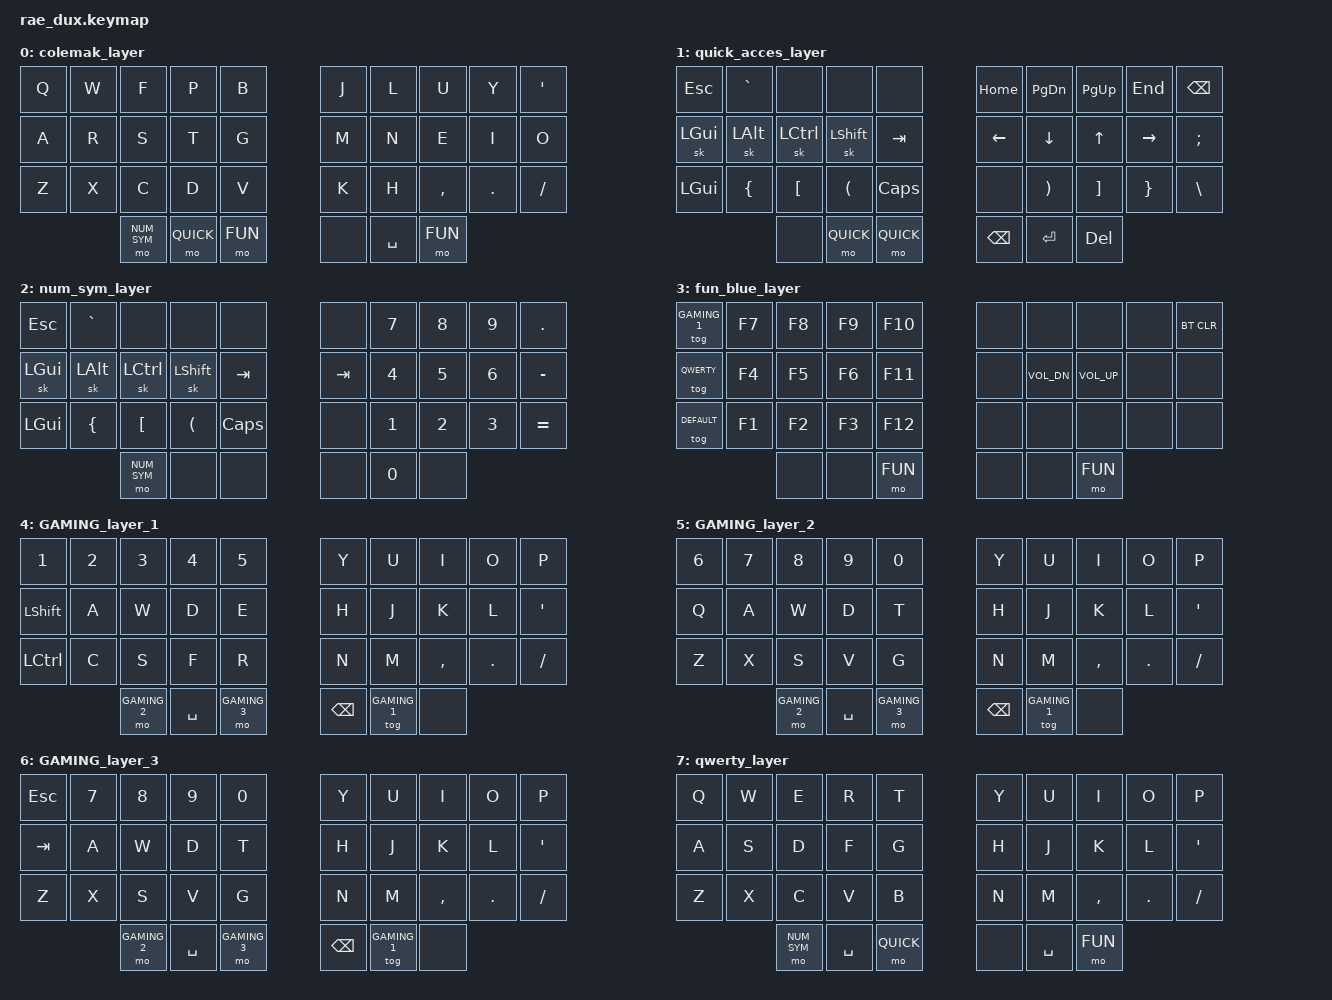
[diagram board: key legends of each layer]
#include <behaviors.dtsi>
#include <dt-bindings/zmk/keys.h>
#include <dt-bindings/zmk/bt.h>

#define DEFAULT      0
#define QUICK        1
#define NUM_SYM      2
#define FUN          3
#define GAMING_1     4
#define GAMING_2     5
#define GAMING_3     6
#define QWERTY       7

/ {
combos {
compatible = "zmk,combos";
    combo_minus {
        timeout-ms = <50>;
        key-positions = <6 7>;
        bindings = <&kp KP_MINUS>;
        layers = <2>;
    };
    combo_plus {
        timeout-ms = <50>;
        key-positions = <7 8>;
        bindings = <&kp KP_PLUS>;
        layers = <2>;
    };    
    combo_underscore {
        timeout-ms = <50>;
        key-positions = <26 27>;
        bindings = <&kp UNDER>;
        layers = <2>;
    };
    combo_equal {
        timeout-ms = <50>;
        key-positions = <27 28>;
        bindings = <&kp KP_EQUAL>;
        layers = <2>;
    };
    combo_esc {
        timeout-ms = <50>;
        key-positions = <1 2>;
        bindings = <&kp ESC>;
        layers = <0>;
    };
  };
};

/ {
    keymap {
        compatible = "zmk,keymap";

        colemak_layer {
            bindings = <
    &kp Q    &kp W    &kp F     &kp P     &kp B          &kp J     &kp L     &kp U     &kp Y     &kp APOS
    &kp A    &kp R    &kp S     &kp T     &kp G          &kp M     &kp N     &kp E     &kp I     &kp O
    &kp Z    &kp X    &kp C     &kp D     &kp V          &kp K     &kp H     &kp COMMA &kp DOT   &kp FSLH
                      &mo NUM_SYM  &mo QUICK   &mo FUN     &none  &kp SPACE &mo FUN
            >;
        };
        
        quick_acces_layer {
            bindings = <
    &kp ESC    &kp GRAVE    &none       &none         &none          &kp HOME     &kp PG_DN       &kp PG_UP   &kp END     &kp BSPC
    &sk LGUI   &sk LALT     &sk LCTRL   &sk LSHIFT    &kp TAB        &kp LEFT     &kp DOWN        &kp UP      &kp RIGHT   &kp SEMI
    &kp LGUI   &kp LBRC     &kp LBKT    &kp LPAR      &kp CAPS       &none        &kp RPAR        &kp RBKT    &kp RBRC    &kp BSLH
                            &none  &mo QUICK     &mo QUICK          &kp BSPC     &kp RET         &kp DELETE
            >;
        };
        
        num_sym_layer {
            bindings = <
    &kp ESC    &kp GRAVE    &none       &none         &none          &none     &kp N7       &kp N8   &kp N9     &kp DOT
    &sk LGUI   &sk LALT     &sk LCTRL   &sk LSHIFT    &kp TAB        &kp TAB     &kp N4        &kp N5      &kp N6   &kp MINUS
    &kp LGUI   &kp LBRC     &kp LBKT    &kp LPAR      &kp CAPS       &none        &kp N1        &kp N2    &kp N3    &kp EQUAL
                          &mo NUM_SYM      &none     &none           &none  &kp N0 &none
            >;
        };
            
        fun_blue_layer {
            bindings = <
    &tog GAMING_1   &kp F7    &kp F8     &kp F9     &kp F10          &none     &none    &none     &none     &bt BT_CLR
    &tog QWERTY   &kp F4    &kp F5     &kp F6     &kp F11          &none     &kp C_VOL_DN    &kp C_VOL_UP     &none     &none
    &tog DEFAULT   &kp F1    &kp F2     &kp F3     &kp F12          &none     &none    &none     &none     &none
                      &none      &none      &mo FUN          &none     &none    &mo FUN
            >;
        };
        
        GAMING_layer_1 {
            bindings = <
    &kp N1        &kp N2   &kp N3    &kp N4    &kp N5         &kp Y     &kp U     &kp I     &kp O     &kp P
    &kp LSHIFT    &kp A    &kp W     &kp D     &kp E          &kp H     &kp J     &kp K     &kp L     &kp APOS
    &kp LCTRL     &kp C    &kp S     &kp F     &kp R          &kp N     &kp M     &kp COMMA &kp DOT   &kp FSLH
                      &mo GAMING_2      &kp SPACE  &mo GAMING_3          &kp BSPC     &tog GAMING_1    &none
            >;
        };

        GAMING_layer_2 {
            bindings = <
    &kp N6        &kp N7   &kp N8    &kp N9    &kp N0         &kp Y     &kp U     &kp I     &kp O     &kp P
    &kp Q         &kp A    &kp W     &kp D     &kp T          &kp H     &kp J     &kp K     &kp L     &kp APOS
    &kp Z         &kp X    &kp S     &kp V     &kp G          &kp N     &kp M     &kp COMMA &kp DOT   &kp FSLH
                      &mo GAMING_2      &kp SPACE  &mo GAMING_3          &kp BSPC     &tog GAMING_1    &none
            >;
        };

        GAMING_layer_3 {
            bindings = <
    &kp ESC        &kp N7   &kp N8    &kp N9    &kp N0         &kp Y     &kp U     &kp I     &kp O     &kp P
    &kp TAB         &kp A    &kp W     &kp D     &kp T          &kp H     &kp J     &kp K     &kp L     &kp APOS
    &kp Z         &kp X    &kp S     &kp V     &kp G          &kp N     &kp M     &kp COMMA &kp DOT   &kp FSLH
                  &mo GAMING_2      &kp SPACE  &mo GAMING_3          &kp BSPC     &tog GAMING_1    &none
            >;
        };

        qwerty_layer {
            bindings = <
    &kp Q    &kp W    &kp E     &kp R     &kp T          &kp Y     &kp U     &kp I     &kp O     &kp P
    &kp A    &kp S    &kp D     &kp F     &kp G          &kp H     &kp J     &kp K     &kp L     &kp APOS
    &kp Z    &kp X    &kp C     &kp V     &kp B          &kp N     &kp M     &kp COMMA &kp DOT   &kp FSLH
                      &mo NUM_SYM  &kp SPACE   &mo QUICK     &none  &kp SPACE &mo FUN
            >;
        };
    };
};
